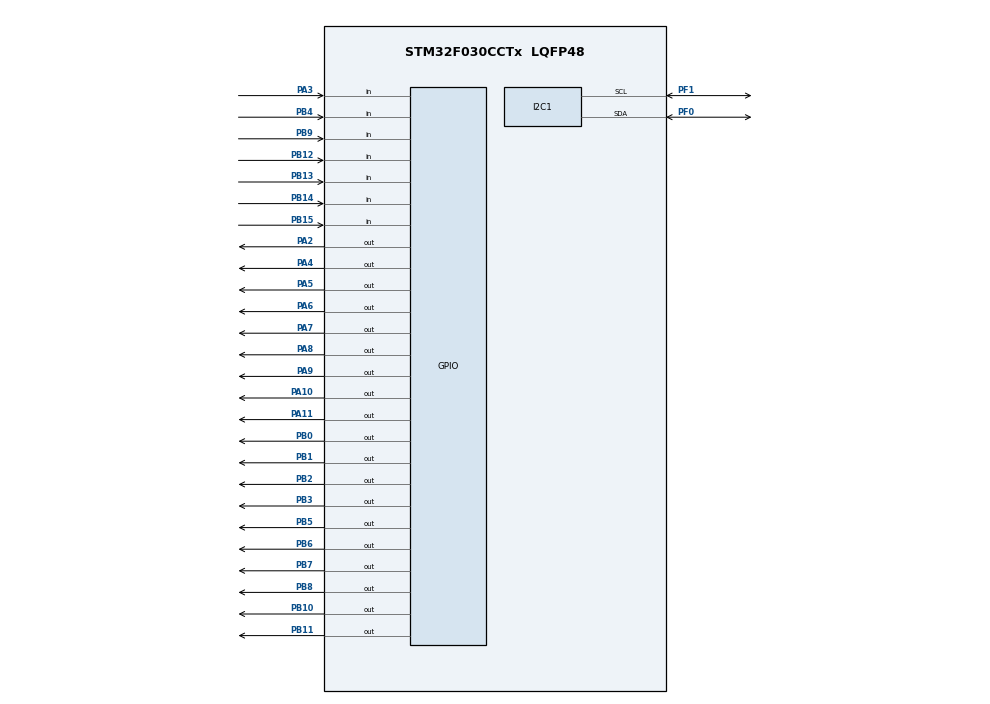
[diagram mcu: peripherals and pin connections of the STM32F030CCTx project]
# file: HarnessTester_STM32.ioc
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I2C1.I2C_Fall_Time=0
I2C1.I2C_Rise_Time=0
I2C1.Timing=0x2000090E
Mcu.Family=STM32F0
Mcu.Name=STM32F030CCTx
Mcu.Package=LQFP48
PA10.Signal=GPIO_Output
PA11.Signal=GPIO_Output
PA13.Mode=Serial_Wire
PA13.Signal=SYS_SWDIO
PA14.Mode=Serial_Wire
PA14.Signal=SYS_SWCLK
PA2.Signal=GPIO_Output
PA3.Signal=GPIO_Input
PA4.Signal=GPIO_Output
PA5.Signal=GPIO_Output
PA6.Signal=GPIO_Output
PA7.Signal=GPIO_Output
PA8.Signal=GPIO_Output
PA9.Signal=GPIO_Output
PB0.Signal=GPIO_Output
PB1.Signal=GPIO_Output
PB10.Signal=GPIO_Output
PB11.Signal=GPIO_Output
PB12.Signal=GPIO_Input
PB13.Signal=GPIO_Input
PB14.Signal=GPIO_Input
PB15.Signal=GPIO_Input
PB2.Signal=GPIO_Output
PB3.Signal=GPIO_Output
PB4.Signal=GPIO_Input
PB5.Signal=GPIO_Output
PB6.Signal=GPIO_Output
PB7.Signal=GPIO_Output
PB8.Signal=GPIO_Output
PB9.Signal=GPIO_Input
PF0-OSC_IN.Mode=I2C
PF0-OSC_IN.Signal=I2C1_SDA
PF1-OSC_OUT.Mode=I2C
PF1-OSC_OUT.Signal=I2C1_SCL
ProjectManager.HeapSize=0x200
ProjectManager.StackSize=0x400
ProjectManager.TargetToolchain=STM32CubeIDE
board=custom

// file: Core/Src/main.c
/* USER CODE BEGIN Header */
/**
  ******************************************************************************
  * @file           : main.c
  * @brief          : Main program body
  ******************************************************************************
  * @attention
  *
  * Copyright (c) 2024 STMicroelectronics.
  * All rights reserved.
  *
  * This software is licensed under terms that can be found in the LICENSE file
  * in the root directory of this software component.
  * If no LICENSE file comes with this software, it is provided AS-IS.
  *
  ******************************************************************************
  */
/* USER CODE END Header */
#include "main.h"
#include <stdio.h>
#include <string.h>
#include <stdbool.h>

#define ADS1115_ADDRESS 0x48 //<< 1  // Address of the ADS1115 (shifted for HAL library)
#define ADS1115_POINTER_CONVERSION 0x00
#define ADS1115_POINTER_CONFIG 0x01

uint8_t ADSwrite[3];
uint8_t ADSread[2];
int16_t reading;
static float voltage[4];
const float voltageConv = 0.256 / 32768.0;  // Update this based on the FSR (prev 6.114)

I2C_HandleTypeDef hi2c1;

void SystemClock_Config(void);
static void MX_GPIO_Init(void);
static void MX_I2C1_Init(void);
/* USER CODE BEGIN PFP */
uint8_t Binary4Bit(uint8_t num);
void selectMux(uint8_t type, uint8_t IO, uint8_t bin_pin);
void mux(uint8_t pin1, uint8_t pin2, uint8_t IO);

void ADS1115_WriteConfig(uint16_t config);
uint16_t ADS1115_ReadConversion();
float* contDetect();

/* USER CODE END PFP */

int main(void)
{
  /* MCU Configuration--------------------------------------------------------*/

  /* Reset of all peripherals, Initializes the Flash interface and the Systick. */
  HAL_Init();

  /* Configure the system clock */
  SystemClock_Config();

  /* Initialize all configured peripherals */
  MX_GPIO_Init();
  MX_I2C1_Init();
  /* USER CODE BEGIN 2 */
  //setup code
  // Initialize Comparator with COMP_LAT = 0b0 and COMP_QUE = 0b11
//   COMP_HandleTypeDef hcomp;
//   hcomp.Instance = COMP1; // Example using COMP1
//   hcomp.Init.InvertingInput = COMP_INVERTINGINPUT_IO1; // Adjust according to your setup
//   hcomp.Init.NonInvertingInput = COMP_NONINVERTINGINPUT_IO1; // Adjust according to your setup
//   hcomp.Init.OutputPol = COMP_OUTPUTPOL_NONINVERTED;
//   hcomp.Init.Mode = COMP_POWERMODE_HIGHSPEED;
//   hcomp.Init.WindowMode = COMP_WINDOWMODE_DISABLE;
//   hcomp.Init.TriggerMode = COMP_TRIGGERMODE_NONE; // No interrupt generation
//
//   HAL_COMP_Init(&hcomp);
//
//   __HAL_COMP_COMP_LAT_RESET(hcomp.Instance); // Set COMP_LAT to 0b0
//   __HAL_COMP_COMP_QUE_SET(hcomp.Instance, 0b11); // Set COMP_QUE to 0b11
//
//   HAL_COMP_Start(&hcomp); // Start comparator

  //Pin defintions
  //Only doing 16 right now to test
  //uint64_t pin1 = 0x1010101010101010101010101010101010101010101010101010101010101010;
  //uint64_t pin2 = 011100;

  /* USER CODE END 2 */

  /* Infinite loop */
  /* USER CODE BEGIN WHILE */
  //Testing Header 00 Level 0 MUX00 Pin X0 and Header 01 Level 0 MUX02 X0
  //Output Pin 2 Outer Mux (ABC High)
  //Check for Input pin 2 (ABC High)
  //Select mux pin, turn on output
  //Check each pin and populate array

//	 COM_InitTypeDef comlog;
//
//	 comlog.BaudRate = 115200;
//	 comlog.WordLength = COM_WORDLENGTH_8B;
//	 comlog.StopBits = COM_STOPBITS_1;
//	 comlog.Parity = COM_PARITY_NONE;
//	 comlog.HwFlowCtl = COM_HWCONTROL_NONE;
//
////	 BSP_COM_Init(COM1, &comlog);
//
//	 printf("Hello World!");
	 HAL_GPIO_WritePin(GPIOA, GPIO_PIN_2, GPIO_PIN_SET); //output pin

	 //Current source for ADC // doing to see if this changes voltage for continuity check
	 //HAL_GPIO_WritePin(GPIOB, GPIO_PIN_0, GPIO_PIN_SET);
	 //HAL_GPIO_WritePin(GPIOB, GPIO_PIN_1, GPIO_PIN_SET);
	 //HAL_GPIO_WritePin(GPIOB, GPIO_PIN_2, GPIO_PIN_SET);
	 //HAL_GPIO_WritePin(GPIOB, GPIO_PIN_3, GPIO_PIN_SET);
	 uint64_t array1;//just need 1 var for now, need 4 for full thing
	  //Replace with actual pin

	 //TESTCODE

//	 HAL_GPIO_WritePin(GPIOA, GPIO_PIN_11, GPIO_PIN_SET); //D
//	 HAL_GPIO_WritePin(GPIOA, GPIO_PIN_10, GPIO_PIN_SET); //C working (Input)
//	 HAL_GPIO_WritePin(GPIOA, GPIO_PIN_9, GPIO_PIN_SET); //B working (Input)
//	 HAL_GPIO_WritePin(GPIOA, GPIO_PIN_8, GPIO_PIN_SET); //A (Input)
//	 HAL_GPIO_WritePin(GPIOA, GPIO_PIN_4, GPIO_PIN_SET); //D
//	 HAL_GPIO_WritePin(GPIOA, GPIO_PIN_5, GPIO_PIN_SET); //C working
//	 HAL_GPIO_WritePin(GPIOA, GPIO_PIN_6, GPIO_PIN_SET); //B working
//	 HAL_GPIO_WritePin(GPIOA, GPIO_PIN_7, GPIO_PIN_SET); //A

	 //selectMux(1,0, 0b0010); //Mux 0, X1, Output
	 //mux(0b0010, 0b0000, 0);

	 //Small Test 01 - Mobo Only (Single connect)
	 //Connections:  O_X7 -> I_X7 (X6-X7 is still not working, trying X7)
	 float* cont_array[15];
	 bool yah = false;
	 mux(0b0110, 0b0000, 1); //X6
	 HAL_Delay(20);
	 mux(0b0110, 0b0000, 0); //X6
	 // Test reading ADS1115 channels
	 HAL_Delay(100);
     cont_array[0] = contDetect();

	 for (uint8_t i = 0; i < 15; i++) {
	   mux(Binary4Bit(i), 0b0000, 1);
	   cont_array[i] = contDetect();
	 }

	 //GPIO_PinState pinState = HAL_GPIO_ReadPin(GPIOA, GPIO_PIN_3); //Read input
	 //mux(0b1110, 0b0000, 0); // Test no connect
	 //pinState = HAL_GPIO_ReadPin(GPIOA, GPIO_PIN_3); //Read input

	 /*
	 for (int z = 0; z < 16; z++) {
		 mux(0000, Binary4Bit(z) , 0);
		 for (int i = 0; i < 16; i++) {
			 mux(0000, Binary4Bit(i) , 1);
			 GPIO_PinState pinState = HAL_GPIO_ReadPin(GPIOA, GPIO_PIN_3); //Read input
			 if (pinState == GPIO_PIN_SET) {
				 array1 |= (uint64_t)1 << i;
			 }
		 }

		 if (array1 ^ pin1) {
			 //do something here idk
		 }
	 }
	 */
  /* USER CODE END 3 */

}

void SystemClock_Config(void)
{
  RCC_OscInitTypeDef RCC_OscInitStruct = {0};
  RCC_ClkInitTypeDef RCC_ClkInitStruct = {0};
  RCC_PeriphCLKInitTypeDef PeriphClkInit = {0};

  /** Initializes the RCC Oscillators according to the specified parameters
  * in the RCC_OscInitTypeDef structure.
  */
  RCC_OscInitStruct.OscillatorType = RCC_OSCILLATORTYPE_HSI;
  RCC_OscInitStruct.HSIState = RCC_HSI_ON;
  RCC_OscInitStruct.HSICalibrationValue = RCC_HSICALIBRATION_DEFAULT;
  RCC_OscInitStruct.PLL.PLLState = RCC_PLL_NONE;
  if (HAL_RCC_OscConfig(&RCC_OscInitStruct) != HAL_OK)
  {
    Error_Handler();
  }

  /** Initializes the CPU, AHB and APB buses clocks
  */
  RCC_ClkInitStruct.ClockType = RCC_CLOCKTYPE_HCLK|RCC_CLOCKTYPE_SYSCLK
                              |RCC_CLOCKTYPE_PCLK1;
  RCC_ClkInitStruct.SYSCLKSource = RCC_SYSCLKSOURCE_HSI;
  RCC_ClkInitStruct.AHBCLKDivider = RCC_SYSCLK_DIV1;
  RCC_ClkInitStruct.APB1CLKDivider = RCC_HCLK_DIV1;

  if (HAL_RCC_ClockConfig(&RCC_ClkInitStruct, FLASH_LATENCY_0) != HAL_OK)
  {
    Error_Handler();
  }
  PeriphClkInit.PeriphClockSelection = RCC_PERIPHCLK_I2C1;
  PeriphClkInit.I2c1ClockSelection = RCC_I2C1CLKSOURCE_HSI;
  if (HAL_RCCEx_PeriphCLKConfig(&PeriphClkInit) != HAL_OK)
  {
    Error_Handler();
  }
}

static void MX_I2C1_Init(void)
{

	  hi2c1.Instance = I2C1;
	  hi2c1.Init.Timing = 0x2000090E;
	  hi2c1.Init.OwnAddress1 = 0;
	  hi2c1.Init.AddressingMode = I2C_ADDRESSINGMODE_7BIT;
	  hi2c1.Init.DualAddressMode = I2C_DUALADDRESS_DISABLE;
	  hi2c1.Init.OwnAddress2 = 0;
	  hi2c1.Init.OwnAddress2Masks = I2C_OA2_NOMASK;
	  hi2c1.Init.GeneralCallMode = I2C_GENERALCALL_DISABLE;
	  hi2c1.Init.NoStretchMode = I2C_NOSTRETCH_DISABLE;
	  if (HAL_I2C_Init(&hi2c1) != HAL_OK)
	  {
		Error_Handler();
	  }

	  /** Configure Analogue filter
	  */
	  if (HAL_I2CEx_ConfigAnalogFilter(&hi2c1, I2C_ANALOGFILTER_ENABLE) != HAL_OK)
	  {
		Error_Handler();
	  }

	  /** Configure Digital filter
	  */
	  if (HAL_I2CEx_ConfigDigitalFilter(&hi2c1, 0) != HAL_OK)
	  {
		Error_Handler();
	  }

}

/* USER CODE BEGIN MX_GPIO_Init_1 */

static void MX_GPIO_Init(void)
{
  GPIO_InitTypeDef GPIO_InitStruct = {0};

  /* GPIO Ports Clock Enable */
  __HAL_RCC_GPIOF_CLK_ENABLE();
  __HAL_RCC_GPIOA_CLK_ENABLE();
  __HAL_RCC_GPIOB_CLK_ENABLE();

  /*Configure GPIO pin Output Level */
//  COMP_HandleTypeDef hcomp;
//   hcomp.Instance = COMP1; // Example using COMP1
//   hcomp.Init.InvertingInput = COMP_INVERTINGINPUT_IO1; // Adjust according to your setup
//   hcomp.Init.NonInvertingInput = COMP_NONINVERTINGINPUT_IO1; // Adjust according to your setup
//   hcomp.Init.OutputPol = COMP_OUTPUTPOL_NONINVERTED;
//   hcomp.Init.Mode = COMP_POWERMODE_HIGHSPEED;
//   hcomp.Init.WindowMode = COMP_WINDOWMODE_DISABLE;
//   hcomp.Init.TriggerMode = COMP_TRIGGERMODE_NONE; // No interrupt generation
//
//   HAL_COMP_Init(&hcomp);
//
//   __HAL_COMP_COMP_LAT_RESET(hcomp.Instance); // Set COMP_LAT to 0b0
//   __HAL_COMP_COMP_QUE_SET(hcomp.Instance, 0b11); // Set COMP_QUE to 0b11
//
//   HAL_COMP_Start(&hcomp); // Start comparator

  HAL_GPIO_WritePin(GPIOA, GPIO_PIN_2|GPIO_PIN_4|GPIO_PIN_5|GPIO_PIN_6
                          |GPIO_PIN_7|GPIO_PIN_8|GPIO_PIN_9|GPIO_PIN_10
                          |GPIO_PIN_11, GPIO_PIN_RESET);

  /*Configure GPIO pin Output Level */
  HAL_GPIO_WritePin(GPIOB, GPIO_PIN_0|GPIO_PIN_1|GPIO_PIN_2|GPIO_PIN_3
                          |GPIO_PIN_5|GPIO_PIN_6|GPIO_PIN_7|GPIO_PIN_8, GPIO_PIN_RESET);

  /*Configure GPIO pins : PA2 PA4 PA5 PA6
                           PA7 PA8 PA9 PA10
                           PA11 */
  GPIO_InitStruct.Pin = GPIO_PIN_2|GPIO_PIN_4|GPIO_PIN_5|GPIO_PIN_6
                          |GPIO_PIN_7|GPIO_PIN_8|GPIO_PIN_9|GPIO_PIN_10
                          |GPIO_PIN_11;
  GPIO_InitStruct.Mode = GPIO_MODE_OUTPUT_PP;
  GPIO_InitStruct.Pull = GPIO_NOPULL;
  GPIO_InitStruct.Speed = GPIO_SPEED_FREQ_LOW;
  HAL_GPIO_Init(GPIOA, &GPIO_InitStruct);

  /*Configure GPIO pin : PA3 */
  GPIO_InitStruct.Pin = GPIO_PIN_3;
  GPIO_InitStruct.Mode = GPIO_MODE_INPUT;
  GPIO_InitStruct.Pull = GPIO_NOPULL;
  HAL_GPIO_Init(GPIOA, &GPIO_InitStruct);

  /*Configure GPIO pins : PB0 PB1 PB2 PB3
                           PB5 PB6 PB7 PB8 */
  GPIO_InitStruct.Pin = GPIO_PIN_0|GPIO_PIN_1|GPIO_PIN_2|GPIO_PIN_3
                          |GPIO_PIN_5|GPIO_PIN_6|GPIO_PIN_7|GPIO_PIN_8;
  GPIO_InitStruct.Mode = GPIO_MODE_OUTPUT_PP;
  GPIO_InitStruct.Pull = GPIO_NOPULL;
  GPIO_InitStruct.Speed = GPIO_SPEED_FREQ_LOW;
  HAL_GPIO_Init(GPIOB, &GPIO_InitStruct);

  /*Configure GPIO pins : PB10 PB11 PB12 PB13
                           PB14 PB15 PB4 PB9 */
  GPIO_InitStruct.Pin = GPIO_PIN_10|GPIO_PIN_11|GPIO_PIN_12|GPIO_PIN_13
                          |GPIO_PIN_14|GPIO_PIN_15|GPIO_PIN_4|GPIO_PIN_9;
  GPIO_InitStruct.Mode = GPIO_MODE_INPUT;
  GPIO_InitStruct.Pull = GPIO_NOPULL;
  HAL_GPIO_Init(GPIOB, &GPIO_InitStruct);
  /* USER CODE END MX_GPIO_Init_1 */
}

/* USER CODE BEGIN 4 */
uint8_t Binary4Bit(uint8_t num) {
	uint8_t bit;
    for (int i = 3; i >= 0; i--) {
    	bit = (num >> i) & 1;
    }
    return bit;
}

void mux(uint8_t pin1, uint8_t pin2, uint8_t IO) { //selectMux abstraction
	selectMux(1, IO, pin1); //deals with inner mux first
	selectMux(0, IO, pin2);
}

void selectMux(uint8_t type, uint8_t IO, uint8_t bin_pin) {
    // Determine MUX selection and IO direction
    if (type == 1) { // 1 is Inner, 0 is Outer
        if (IO == 1) { // 1 is Input, 0 is Output
            // Reset all pins to low before setting them according to bin_pin
            HAL_GPIO_WritePin(GPIOA, GPIO_PIN_8 | GPIO_PIN_9 | GPIO_PIN_10 | GPIO_PIN_11, GPIO_PIN_RESET);

            // Set pins based on bin_pin bits
            if (bin_pin & 0b0001) HAL_GPIO_WritePin(GPIOA, GPIO_PIN_8, GPIO_PIN_SET);
            if (bin_pin & 0b0010) HAL_GPIO_WritePin(GPIOA, GPIO_PIN_9, GPIO_PIN_SET);
            if (bin_pin & 0b0100) HAL_GPIO_WritePin(GPIOA, GPIO_PIN_10, GPIO_PIN_SET);
            if (bin_pin & 0b1000) HAL_GPIO_WritePin(GPIOA, GPIO_PIN_11, GPIO_PIN_SET);

        } else { // If Output
            // Reset all pins to low before setting them according to bin_pin
            HAL_GPIO_WritePin(GPIOA, GPIO_PIN_4 | GPIO_PIN_5 | GPIO_PIN_6 | GPIO_PIN_7, GPIO_PIN_RESET);

            // Set pins based on bin_pin bits
            if (bin_pin & 0b0001) HAL_GPIO_WritePin(GPIOA, GPIO_PIN_4, GPIO_PIN_SET);
            if (bin_pin & 0b0010) HAL_GPIO_WritePin(GPIOA, GPIO_PIN_5, GPIO_PIN_SET);
            if (bin_pin & 0b0100) HAL_GPIO_WritePin(GPIOA, GPIO_PIN_6, GPIO_PIN_SET);
            if (bin_pin & 0b1000) HAL_GPIO_WritePin(GPIOA, GPIO_PIN_7, GPIO_PIN_SET);
        }
    } else { // If "Outer"
        if (IO == 1) { // 1 is Input, 0 is Output
            // Reset all pins to low before setting them according to bin_pin
            HAL_GPIO_WritePin(GPIOB, GPIO_PIN_10 | GPIO_PIN_11 | GPIO_PIN_12 | GPIO_PIN_13, GPIO_PIN_RESET);

            // Set pins based on bin_pin bits
            if (bin_pin & 0b0001) HAL_GPIO_WritePin(GPIOB, GPIO_PIN_10, GPIO_PIN_SET);
            if (bin_pin & 0b0010) HAL_GPIO_WritePin(GPIOB, GPIO_PIN_11, GPIO_PIN_SET);
            if (bin_pin & 0b0100) HAL_GPIO_WritePin(GPIOB, GPIO_PIN_12, GPIO_PIN_SET);
            if (bin_pin & 0b1000) HAL_GPIO_WritePin(GPIOB, GPIO_PIN_13, GPIO_PIN_SET);

        } else { // If Output
            // Reset all pins to low before setting them according to bin_pin
            HAL_GPIO_WritePin(GPIOB, GPIO_PIN_5 | GPIO_PIN_6 | GPIO_PIN_7 | GPIO_PIN_8, GPIO_PIN_RESET);

            // Set pins based on bin_pin bits
            if (bin_pin & 0b0001) HAL_GPIO_WritePin(GPIOB, GPIO_PIN_5, GPIO_PIN_SET);
            if (bin_pin & 0b0010) HAL_GPIO_WritePin(GPIOB, GPIO_PIN_6, GPIO_PIN_SET);
            if (bin_pin & 0b0100) HAL_GPIO_WritePin(GPIOB, GPIO_PIN_7, GPIO_PIN_SET);
            if (bin_pin & 0b1000) HAL_GPIO_WritePin(GPIOB, GPIO_PIN_8, GPIO_PIN_SET);
        }
    }
}

void ADS1115_WriteConfig(uint16_t config)
{
  uint8_t configData[3];
  configData[0] = ADS1115_POINTER_CONFIG;
  configData[1] = (uint8_t)(config >> 8);   // MSB
  configData[2] = (uint8_t)(config & 0xFF); // LSB
  HAL_StatusTypeDef result;
  result = HAL_I2C_Master_Transmit(&hi2c1, ADS1115_ADDRESS << 1, configData, 3, HAL_MAX_DELAY);
  if (result)
  {
    // Transmission Error
    Error_Handler();
  }
}

uint16_t ADS1115_ReadConversion()
{
  uint8_t convData[2];
  uint16_t value;

  if (HAL_I2C_Master_Transmit(&hi2c1, ADS1115_ADDRESS << 1, ADS1115_POINTER_CONVERSION, 1, HAL_MAX_DELAY) != HAL_OK)
  {
    // Transmission Error
    Error_Handler();
  }

  if (HAL_I2C_Master_Receive(&hi2c1, ADS1115_ADDRESS << 1, convData, 2, HAL_MAX_DELAY) != HAL_OK)
  {
    // Reception Error
    Error_Handler();
  }

  value = (convData[0] << 8) | convData[1];
  return value;
}

float* contDetect() {
	for(int i=0; i< 4; i++){
				ADSwrite[0] = 0x01;

				switch(i){
					case(0):
						ADSwrite[1] = 0xCD; //11001101 #bits 1-3 (110) correspond to PGA gain of 0.256V
					break;
					case(1):
						ADSwrite[1] = 0xDD; //11011101
					break;
					case(2):
						ADSwrite[1] = 0xED;
					break;
					case(3):
						ADSwrite[1] = 0xFD;
					break;
				}

				ADSwrite[2] = 0x83; //10000011 LSB

				 HAL_I2C_Master_Transmit(&hi2c1, ADS1115_ADDRESS << 1, ADSwrite, 3, 100);

				// Wait for conversion to complete by polling OS bit
				uint8_t configRegister[2];
				do {
					HAL_I2C_Mem_Read(&hi2c1, ADS1115_ADDRESS << 1, 0x01, I2C_MEMADD_SIZE_8BIT, configRegister, 2, 100);
				} while ((configRegister[0] & 0x80) == 0);

				// Read conversion results
				HAL_I2C_Mem_Read(&hi2c1, ADS1115_ADDRESS << 1, 0x00, I2C_MEMADD_SIZE_8BIT, ADSread, 2, 100);
				reading = (ADSread[0] << 8) | ADSread[1];
				if(reading < 0) {
					reading = 0;
				}
				voltage[i] = reading * voltageConv;

	}
	return voltage;
}

  //printf("Channel %d: %f V\n", channel, voltage);

/* USER CODE END 4 */

void Error_Handler(void)
{
  __disable_irq();
  while (1)
  {
  }
}
